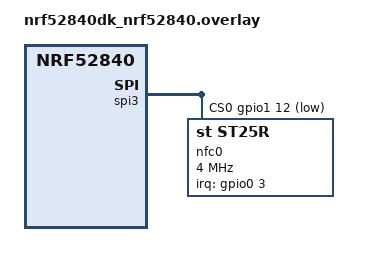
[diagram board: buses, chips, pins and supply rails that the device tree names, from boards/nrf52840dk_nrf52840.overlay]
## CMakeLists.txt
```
cmake_minimum_required(VERSION 3.13.1)

find_package(Zephyr REQUIRED HINTS $ENV{ZEPHYR_BASE})
project(nfc08a1)

set(CMAKE_EXPORT_COMPILE_COMMANDS ON)

target_sources(app PRIVATE
    src/analogConfigTbl_NFC08A1.c
    src/demo_ce.c
    src/demo_polling.c
    src/main.c
    )

set(extra_includes
            "src"
            )

target_include_directories(app PUBLIC ${extra_includes})
```

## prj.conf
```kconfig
CONFIG_LOG=y

CONFIG_SPI=n
CONFIG_I2C=y
CONFIG_GPIO=y

CONFIG_ST25R=y
CONFIG_ST25R3916B=y
CONFIG_ST25R_TRIGGER_GLOBAL_THREAD=y

CONFIG_RFAL_USE_I2C=y
CONFIG_RFAL_FEATURE_NFCA=y
CONFIG_RFAL_FEATURE_ISO_DEP=y
CONFIG_RFAL_FEATURE_ISO_DEP_POLL=y
```

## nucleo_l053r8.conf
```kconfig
CONFIG_LOG_BUFFER_SIZE=128
CONFIG_SIZE_OPTIMIZATIONS=y
```

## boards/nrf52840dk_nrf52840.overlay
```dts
/* SPI configuration */

&spi3 {
    status = "okay";

    cs-gpios = <&gpio1 12 GPIO_ACTIVE_LOW>;

    nfc0: st25r@0 {
        compatible = "st,st25r";
        reg = <0x0>;
        spi-max-frequency = <4000000>;
        irq-gpios = <&gpio0 3 GPIO_ACTIVE_HIGH>;
    };
};

/* I2C configuration */

/*
&spi1 {
    status = "disabled";
};

&i2c0 {
    status = "okay";

    nfc1: st25r@50 {
        compatible = "st,st25r";
        reg = <0x50>;
        irq-gpios = <&gpio0 3 GPIO_ACTIVE_HIGH>;
    };
};
*/
```

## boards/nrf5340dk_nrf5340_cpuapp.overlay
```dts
/* SPI configuration */

&spi4 {
    status = "okay";

    cs-gpios = <&gpio1 12 GPIO_ACTIVE_LOW>;

    nfc0: st25r@0 {
        compatible = "st,st25r";
        reg = <0x0>;
        spi-max-frequency = <4000000>;
        irq-gpios = <&gpio0 4 GPIO_ACTIVE_HIGH>;
    };
};

/* I2C configuration */

/*
&i2c1 {
    status = "okay";

    zephyr,concat-buf-size = <40>;

    nfc1: st25r@50 {
        compatible = "st,st25r";
        reg = <0x50>;
        irq-gpios = <&gpio0 4 GPIO_ACTIVE_HIGH>;
    };
};
*/
```

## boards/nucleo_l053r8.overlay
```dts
/* SPI configuration */

/ {
    soc {
        pin-controller@50000000 {
            spi1_mosi_pa7: spi1_mosi_pa7 {
                slew-rate = "very-high-speed";
            };
        };
    };
};

&spi1 {
    status = "okay";

    cs-gpios = <&gpiob 6 GPIO_ACTIVE_LOW>;

    nfc0: st25r@0 {
        compatible = "st,st25r";
        reg = <0x0>;
        spi-max-frequency = <4000000>;
        irq-gpios = <&gpioa 0 GPIO_ACTIVE_HIGH>;
    };
};

/* I2C configuration */

/*
&i2c1 {
    status = "okay";
    
    nfc1: st25r@50 {
        compatible = "st,st25r";
        reg = <0x50>;
        irq-gpios = <&gpioa 0 GPIO_ACTIVE_HIGH>;
    };
};
*/
```

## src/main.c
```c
#include <stdbool.h>

#include <zephyr/kernel.h>
#include <zephyr/logging/log.h>

#include "demo.h"

LOG_MODULE_DECLARE(ST25R);

int main()
{

    bool rv = demoIni();
    if (!rv) {
        LOG_ERR("failed to initialize");
    } else {
        while (1) {
            demoCycle();
        }
    }

    return 0;
}
```

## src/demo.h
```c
/**
  *****************************************************************************
  * @file    demo.h
  * @brief   Header for polling tag detect
  ******************************************************************************
  * @attention
  *
  * Copyright (c) 2021 STMicroelectronics.
  * All rights reserved.
  *
  * This software is licensed under terms that can be found in the LICENSE file
  * in the root directory of this software component.
  * If no LICENSE file comes with this software, it is provided AS-IS.
  *
  ******************************************************************************
  */

/* Define to prevent recursive inclusion -------------------------------------*/
#ifndef DEMO_H
#define DEMO_H

#ifdef __cplusplus
extern "C" {
#endif

/* Includes ------------------------------------------------------------------*/
#include "platform.h"
#include "st_errno.h"

/** @addtogroup X-CUBE-NFC6_Applications
 *  @{
 */

/** @addtogroup PollingTagDetect
 *  @{
 */

/** @defgroup PTD_Demo
 *  @brief Demo functions containing the example code
 * @{
 */

/* Exported types ------------------------------------------------------------*/
/* Exported constants --------------------------------------------------------*/
/* Exported macro ------------------------------------------------------------*/

/* Exported functions ------------------------------------------------------- */
/** @defgroup PTD_Demo_Exported_Functions
 *  @{
 */
bool demoIni( void );
void demoCycle(void);

/**
  * @}
  */

/**
  * @}
  */ 

/**
  * @}
  */

/**
  * @}
  */

#ifdef __cplusplus
}
#endif

#endif /* DEMO_H */
```

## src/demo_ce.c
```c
/**
  ******************************************************************************
  * @file    demo_ce.c
  * @author  MMY Application Team
  * @brief   Body function to manage card emul mode
  ******************************************************************************
  * @attention
  *
  * Copyright (c) 2021 STMicroelectronics.
  * All rights reserved.
  *
  * This software is licensed under terms that can be found in the LICENSE file
  * in the root directory of this software component.
  * If no LICENSE file comes with this software, it is provided AS-IS.
  *
  ******************************************************************************
  */

/* Includes ------------------------------------------------------------------*/
#include "demo_ce.h"
#include "utils.h"
#include "st_errno.h"
#include "rfal_rf.h"
#include "rfal_nfca.h"
#include "rfal_nfcf.h"

/** @addtogroup X-CUBE-NFC6_Applications
 *  @{
 */

/** @addtogroup CardEmulation
 *  @{
 */

/** @addtogroup CE_CardEmul
 * @{
 */

/* Private typedef -----------------------------------------------------------*/
/** @defgroup CE_CardEmul_Private_Typedef
 * @{
 */
enum States
        {
    STATE_IDLE                      = 0,    /*!< Emulated Tag state idle                  */
    STATE_APP_SELECTED              = 1,    /*!< Emulated Tag state application selected  */
    STATE_CC_SELECTED               = 2,    /*!< Emulated Tag state CCFile selected       */
    STATE_FID_SELECTED              = 3,    /*!< Emulated Tag state FileID selected       */
        };
/**
  * @}
  */

/* Private define ------------------------------------------------------------*/
/** @defgroup CE_CardEmul_Private_Define
 * @{
 */

#define NDEF_SIZE           256       /*!< Max NDEF size emulated. Range: 0005h - 7FFFh    */
#define T4T_CLA_00          0x00      /*!< CLA value for type 4 command                    */
#define T4T_INS_SELECT      0xA4      /*!< INS value for select command                    */
#define T4T_INS_READ        0xB0      /*!< INS value for reabbinary command                */
#define T4T_INS_UPDATE      0xD6      /*!< INS value for update command                    */
#define FID_CC              0xE103    /*!< File ID number for CCFile                       */
#define FID_NDEF            0x0001    /*!< File ID number for NDEF file                    */
#define T3T_BLOCK_SIZE      0x10      /*!< Block size in Type 3 Tag                        */
/**
  * @}
  */

/* Private macro -------------------------------------------------------------*/
/* Private variables ---------------------------------------------------------*/
/** @defgroup CE_CardEmul_Private_Variables
 * @{
 */
static uint8_t        gNfcfNfcid[RFAL_NFCF_NFCID2_LEN];
static uint8_t        ndefFile[NDEF_SIZE];  /*!< Buffer to store NDEF File                 */
static int8_t         nState = STATE_IDLE;  /*!< Type 4 tag emulation status               */
static int32_t        nSelectedIdx = -1;    /*!< current file selected                     */
static int32_t        nFiles = 2;           /*!< Number of file emulated                   */


/**
  * CCLEN : Indicates the size of this CC File <BR>
  * T4T_VNo : Indicates the Mapping Version <BR>
  * MLe high : Max R-APDU size <BR>
  * MLc high : Max C-APDU size <BR>
  * NDEF FCI T: Indicates the NDEF-File_Ctrl_TLV <BR>
  * NDEF FCI L: The length of the V-field <BR>
  * NDEF FCI V1: NDEF File Identifier <BR>
  * NDEF FCI V2: NDEF File size <BR>
  * NDEF FCI V3: NDEF Read AC <BR>
  * NDEF FCI V4: NDEF Write AC <BR>
  */
static uint8_t ccfile[] = {
        0x00, 0x0F,                                       /* CCLEN      */
        0x20,                                             /* T4T_VNo    */
        0x00, 0x7F,                                       /* MLe        */
        0x00, 0x7F,                                       /* MLc        */
        0x04,                                             /* T          */
        0x06,                                             /* L          */
        (FID_NDEF & 0xFF00) >> 8, (FID_NDEF & 0x00FF),    /* V1         */
        (NDEF_SIZE & 0xFF00) >> 8, (NDEF_SIZE & 0x00FF),  /* V2         */
        0x00,                                             /* V3         */
        0x00                                              /* V4         */
};

static uint32_t pdwFileSize[] = {sizeof(ccfile), NDEF_SIZE};  /*!< Current emulated files size     */

/**
  * NDEF length <BR>
  * NDEF Header: MB,ME,SR,Well known Type <BR>
  * NDEF type length <BR>
  * NDEF payload length <BR>
  * NDEF Type : URI <BR>
  * NDEF URI abreviation field : http://www. <BR>
  * NDEF URI string : st.com/st25-demo <BR>
  */
static const uint8_t ndef_uri[] = { 0x00, 0x15,                      /* NDEF length                */
                                    0xD1,                            /* NDEF Header                */
                                    0x01,                            /* NDEF type length           */
                                    0x11,                            /* NDEF payload length        */
                                    0x55,                            /* NDEF Type                  */
                                    0x01,                            /* NDEF URI abreviation field */
                                    0x73, 0x74, 0x2E, 0x63, 0x6F,    /* NDEF URI string            */
                                    0x6D, 0x2F, 0x73, 0x74, 0x32,
                                    0x35, 0x2D, 0x64, 0x65, 0x6D, 0x6F };

__WEAK const uint8_t *demoNdefFile = ndef_uri;
__WEAK uint32_t demoNdefFileLen = sizeof(ndef_uri);


/**
  * Ver : Indicates the NDEF mapping version <BR>
  * Nbr : Indicates the number of blocks that can be read <BR>
  * Nbw : Indicates the number of blocks that can be written <BR>
  * NmaxB : Indicates the maximum number of blocks available for NDEF data <BR>
  * WriteFlag : Indicates whether a previous NDEF write procedure has finished or not <BR>
  * RWFlag : Indicates data can be updated or not <BR>
  * Ln : Is the size of the actual stored NDEF data in bytes <BR>
  * Checksum : allows the Reader/Writer to check whether the Attribute Data are correct <BR>
  */
static uint8_t InformationBlock[] = { 0x10,                                             /* Ver        */
                                      0x08,                                             /* Nbr        */
                                      0x08,                                             /* Nbw        */
                                      0x00, 0x0F,                                       /* NmaxB      */
                                      0x00, 0x00, 0x00, 0x00,                           /* RFU        */
                                      0x00,                                             /* WriteFlag  */
                                      0x01,                                             /* RWFlag     */
                                      0x00, 0x00, 0x15,                                 /* Ln         */
                                      0x00, 0x45                                        /* Checksum   */
};
/**
  * @}
  */

/* Private function prototypes -----------------------------------------------*/

/* Private functions ---------------------------------------------------------*/
/** @defgroup CE_CardEmul_Private_Functions
 * @{
 */

/**
  *****************************************************************************
  * @brief  Compare 2 commands supplied in parameters
  *
  * @param[in]  cmd : pointer to the received command.
  * @param[in]  find : pointer to the avalaible command.
  * @param[in]  len : length of the available command.
  *
  * @retval True : Same command.
  * @retval False : Different command.
  *****************************************************************************
  */
static bool cmdCompare(uint8_t *cmd, uint8_t *find, uint16_t len)
{
    for(int i = 0; i < 20; i++)
    {
        if(!memcmp(&cmd[i],find, len))
        {
            return true;
        }
    }
    return false;
}

/**
  *****************************************************************************
  * @brief  Manage the T4T Select answer to the reader
  *
  * @param[in]  cmdData    : pointer to the received command.
  * @param[out] rspData    : pointer to the answer to send.
  *
  * @return Answer size.
  *****************************************************************************
  */
static uint16_t demoCeT4TSelect(uint8_t *cmdData, uint8_t *rspData )
{
    bool success = false;
    /*
     * Cmd: CLA(1) | INS(1) | P1(1) | P2(1) | Lc(1) | Data(n) | [Le(1)]
     * Rsp: [FCI(n)] | SW12
     *
     * Select App by Name NDEF:       00 A4 04 00 07 D2 76 00 00 85 01 01 00
     * Select App by Name NDEF 4 ST:  00 A4 04 00 07 A0 00 00 00 03 00 00 00
     * Select CC FID:                 00 A4 00 0C 02 xx xx
     * Select NDEF FID:               00 A4 00 0C 02 xx xx
     */

    uint8_t aid[] = {0xD2, 0x76, 0x00, 0x00, 0x85, 0x01, 0x01};
    uint8_t fidCC[] = {FID_CC >> 8 , FID_CC & 0xFF};
    uint8_t fidNDEF[] = {FID_NDEF >> 8, FID_NDEF & 0xFF};
    uint8_t selectFileId[] = {0xA4, 0x00, 0x0C, 0x02, 0x00, 0x01 };


    if(cmdCompare( cmdData, aid, sizeof(aid)))
    { /* Select Appli */
        nState = STATE_APP_SELECTED;
        success = true;
    }
    else if((nState >= STATE_APP_SELECTED) && cmdCompare(cmdData, fidCC, sizeof(fidCC)))
    { /* Select CC */
        nState = STATE_CC_SELECTED;
        nSelectedIdx = 0;
        success = true;
    }
    else if((nState >= STATE_APP_SELECTED) && (cmdCompare(cmdData,fidNDEF,sizeof(fidNDEF)) || cmdCompare(cmdData,selectFileId,sizeof(selectFileId))))
    { /* Select NDEF */
        nState = STATE_FID_SELECTED;
        nSelectedIdx = 1;
        success = true;
    }
    else
    {
        nState = STATE_IDLE;
    }

    rspData[0] = (success ? (char)0x90 : 0x6A);
    rspData[1] = (success ? (char)0x00 : 0x82);

    return 2;
}

/**
  *****************************************************************************
  * @brief  Manage the T4T Read answer to the reader
  *
  * @param[in]  cmdData    : pointer to the received command.
  * @param[out] rspData    : pointer to the answer to send.
  * @param[in]  rspDataLen : size of the answer buffer.
  *
  * @return Answer size.
  *****************************************************************************
  */
static uint16_t demoCeT4TRead(uint8_t *cmdData, uint8_t *rspData, uint16_t rspDataLen)
{
    /*
     * Cmd: CLA(1) | INS(1) | P1(1).. offset inside file high | P2(1).. offset inside file high | Le(1).. nBytes to read
     * Rsp: BytesRead | SW12
     */
    unsigned short offset = (cmdData[2] << 8) | cmdData[3];
    unsigned short toRead = cmdData[4];
    uint8_t * ppbMemory;

    if( rspDataLen < 2 )
    {
        platformErrorHandle();  /* Must ensure appropriate buffer */
    }

    /* Any file selected */
    if(nSelectedIdx < 0 || nSelectedIdx >= nFiles)
    {
        rspData[0] = ((char)0x6A);
        rspData[1] = ((char)0x82);
        return 2;
    }

    /* offset + length exceed file size */
    if((unsigned long)(offset + toRead) > pdwFileSize[nSelectedIdx])
    {
        toRead = pdwFileSize[nSelectedIdx] - offset;
    }

    if( rspDataLen < (toRead+2) )
    {
        rspData[0] = ((char)0x6F);
        rspData[1] = ((char)0x00);
        return 2;
    }

    ppbMemory = (nSelectedIdx == 0 ? ccfile : ndefFile);
    /* read data */
    memcpy(rspData, &ppbMemory[offset], toRead);

    rspData[toRead] = ((char)0x90);
    rspData[toRead+1] = ((char)0x00);
    return toRead + 2;
}

/**
  *****************************************************************************
  * @brief  Manage the T4T Update answer to the reader
  *
  * @param[in]  cmdData : pointer to the received command.
  * @param[in]  rspData : pointer to the answer to send.
  *
  * @return Answer size.
  *****************************************************************************
  */
static uint16_t demoCeT4TUpdate(uint8_t *cmdData, uint8_t *rspData)
{
    uint32_t offset = (cmdData[2] << 8) | cmdData[3];
    uint32_t length = cmdData[4];


    if(nSelectedIdx != 1)
    {
        rspData[0] = ((char)0x6A);
        rspData[1] = ((char)0x82);
        return 2;
    }

    if((unsigned long)(offset + length) > pdwFileSize[nSelectedIdx])
    {
        rspData[0] = ((char)0x62);
        rspData[1] = ((char)0x82);
        return 2;
    }

    memcpy((ndefFile + offset), &cmdData[5], length);

    rspData[0] = ((char)0x90);
    rspData[1] = ((char)0x00);
    return 2;
}

/**
  *****************************************************************************
  * @brief  Manage the T4T Read answer to the reader
  *
  * @param[in]  cmdData    : pointer to the received command.
  * @param[out] rspData    : pointer to the answer to send.
  * @param[in]  rspDataLen : size of the answer buffer.
  *
  * @return Answer size.
  *****************************************************************************
  */
static uint16_t demoCeT3TCheck(uint8_t *cmdData, uint8_t *rspData, uint16_t rspDataLen)
{
    /*
     * Cmd: cmd | NFCID2 | NoS | Service code list | NoB | Block list
     * Rsp: rsp | NFCID2 | Status Flag 1 | Status Flag 2 | NoB | Block Data
     */
    uint8_t *block;
    uint16_t blocknb[256];
    uint32_t idx = 0;
    uint32_t cnt = 0;
    uint32_t nbmax = 0;


    /* Command response */
    rspData[idx++] = RFAL_NFCF_CMD_READ_WITHOUT_ENCRYPTION + 1;

    /* NFCID 2 bytes */
    if( ST_BYTECMP( gNfcfNfcid, &cmdData[ RFAL_NFCF_LENGTH_LEN + RFAL_NFCF_CMD_LEN ], RFAL_NFCF_NFCID2_LEN ) == 0 )
    {
        ST_MEMCPY( &rspData[idx], &gNfcfNfcid, RFAL_NFCF_NFCID2_LEN );
        idx += RFAL_NFCF_NFCID2_LEN;
    }
    else
    {
        /* If NFCID2 in command is different, no answer */
        return 0;
    }

    /* Check for command errors */
    if( (cmdData[10] != 1) || ((cmdData[11] != 0x09) && (cmdData[11] != 0x0B))
    || (cmdData[13] == 0) || (cmdData[13] > InformationBlock[1]) )
    {
        rspData[idx++] = 0xFF;
        rspData[idx++] = 0xFF;
        return idx;
    }
    else
    {
        rspData[idx++] = 0x00;
        rspData[idx++] = 0x00;
    }


    /* Verify CHECK response length */
    if( rspDataLen < (11 + (cmdData[13] * T3T_BLOCK_SIZE)) )
    {
        platformErrorHandle();  /* Must ensure appropriate buffer */
    }

    /* Nob */
    rspData[idx++] = cmdData[13];

    /* Retrieving block to read */
    block = &cmdData[14];
    for( cnt = 0; cnt < cmdData[13]; cnt++ )
    {
        /* TS T3T 5.6.1.5 Service Code List Order value SHALL be between 0 and NoS-1 */
        if( ((*block) & 0x0F) >=  cmdData[10] )
        {
            rspData[idx - 3] = 0xFF;
            rspData[idx - 2] = 0x80; /* TS T3T table 13 - proprietary value to indicate specific error conditions.*/
            return (idx - 1);
        }
        /* Check block list element size */
        if( *block & 0x80 )
        {
            /* 2-byte Block List element */
            blocknb[cnt] = *(block + 1);
            block += 2;
        }
        else
        {
            /* 3-byte Block List element */
            blocknb[cnt] = *(block + 2); /* Little Endian Format */
            blocknb[cnt] <<= 8;
            blocknb[cnt] |= *(block + 1);
            block += 3;
        }

        /* Return error if Blocknb > NmaxB */
        nbmax = InformationBlock[3];
        nbmax = (nbmax << 8) | InformationBlock[4];
        if( blocknb[cnt] > nbmax )
        {
            rspData[idx - 3] = 0xFF;
            rspData[idx - 2] = 0x70;
            return (idx - 1);
        }
    }

    for( cnt = 0; cnt < cmdData[13]; cnt++ )
    {
        if( blocknb[cnt] == 0x0000 )
        {
            /* Read information block */
            ST_MEMCPY( &rspData[idx], InformationBlock, sizeof(InformationBlock));
            idx += sizeof(InformationBlock);
        }
        else
        {
            /* Read ndef block */
            ST_MEMCPY( &rspData[idx], &ndefFile[2 + ((blocknb[cnt] - 1) * T3T_BLOCK_SIZE) ], T3T_BLOCK_SIZE);
            idx += T3T_BLOCK_SIZE;
        }
    }

    return idx;
}

/**
  *****************************************************************************
  * @brief  Manage the T3T Update answer to the reader
  *
  * @param[in]  cmdData : pointer to the received command.
  * @param[in]  rspData : pointer to the answer to send.
  *
  * @return Answer size.
  *****************************************************************************
  */
static uint16_t demoCeT3TUpdate(uint8_t *cmdData, uint8_t *rspData)
{
    /*
     * Cmd: cmd | NFCID2 | NoS | Service code list | NoB | Block list | Block Data
     * Rsp: rsp | NFCID2 | Status Flag 1 | Status Flag 2
     */
    uint8_t *block;
    uint16_t blocknb[256];
    uint32_t idx = 0;
    uint32_t cnt = 0;
    uint32_t nbmax = 0;

    /* Command response */
    rspData[idx++] = RFAL_NFCF_CMD_WRITE_WITHOUT_ENCRYPTION + 1;

    /* NFCID 2 bytes */
    if( ST_BYTECMP( gNfcfNfcid, &cmdData[ RFAL_NFCF_LENGTH_LEN + RFAL_NFCF_CMD_LEN ], RFAL_NFCF_NFCID2_LEN ) == 0 )
    {
        ST_MEMCPY( &rspData[idx], gNfcfNfcid, RFAL_NFCF_NFCID2_LEN );
        idx += RFAL_NFCF_NFCID2_LEN;
    }
    else
    {
        /* If NFCID2 in command is different, no answer */
        return 0;
    }

    /* Check for command errors */
    if( (cmdData[10] != 1) || (cmdData[11] != 0x09)
    || (cmdData[13] == 0) || (cmdData[13] > InformationBlock[2]) )
    {
        rspData[idx++] = 0xFF;
        rspData[idx++] = 0xFF;
        return idx;
    }
    else
    {
        rspData[idx++] = 0x00;
        rspData[idx++] = 0x00;
    }


    /* Retrieving block to read */
    block = &cmdData[14];
    for( cnt = 0; cnt < cmdData[13]; cnt++ )
    {
        /* Check block list element size */
        if( *block & 0x80 )
        {
            /* 2-byte Block List element */
            blocknb[cnt] = *(block + 1);
            block += 2;
        }
        else
        {
            /* 3-byte Block List element */
            blocknb[cnt] = *(block + 2); /* Little Endian Format */
            blocknb[cnt] <<= 8;
            blocknb[cnt] |= *(block + 1);
            block += 3;
        }
        /* Return error if Blocknb > NmaxB */
        nbmax = InformationBlock[3];
        nbmax = (nbmax << 8) | InformationBlock[4];
        if( blocknb[cnt] > nbmax )
        {
            rspData[idx - 2] = 0xFF;
            rspData[idx - 1] = 0x70;
            return idx;
        }
    }

    for( cnt = 0; cnt < cmdData[13]; cnt++ )
    {
        if( blocknb[cnt] == 0x0000 )
        {
            /* Write information block */
            ST_MEMCPY( InformationBlock, block, T3T_BLOCK_SIZE);
            block += T3T_BLOCK_SIZE;
        }
        else
        {
            /* Read ndef block */
            ST_MEMCPY( &ndefFile[2 + ((blocknb[cnt] - 1) * T3T_BLOCK_SIZE) ], block, T3T_BLOCK_SIZE);
            block += T3T_BLOCK_SIZE;
        }
    }

    /* Status flag answer */
    rspData[idx++] = 0x00;
    rspData[idx++] = 0x00;

    return idx;
}


/**
  *****************************************************************************
  * @brief  Demo CE Initialize
  *
  * Initializes the demo CE
  *
  * @param[in]  nfcfNfcid : The NFCID to be used in T3T CE.
  *
  * @return None
  *****************************************************************************
  */
void demoCeInit( uint8_t* nfcfNfcid )
{
    if( nfcfNfcid != NULL )
    {
        ST_MEMCPY( gNfcfNfcid, nfcfNfcid, RFAL_NFCF_NFCID2_LEN );
    }

    ST_MEMCPY( ndefFile, (uint8_t *)demoNdefFile, demoNdefFileLen );
    /* Update AIB Ln with actual NDEF length */
    InformationBlock[12] = demoNdefFile[0];
    InformationBlock[13] = demoNdefFile[1];
    uint16_t checksum = 0;
    for (int i = 0; i < 14; i++)
    {
        checksum += InformationBlock[i];
    }
    InformationBlock[14] = checksum >> 8;
    InformationBlock[15] = checksum & 0xFF;
}

/**
  *****************************************************************************
  * @brief  Demo CE T4T
  *
  * Parses the received command and computes the response to be sent back to
  * the Reader
  *
  * @param[in]  rxData : pointer to the received command.
  * @param[in]  rxDataLen : length of the received command.
  * @param[in]  txBuf : pointer to where the response will be placed.
  * @param[in]  txBufLen : size of txBuf.
  *
  * @return Response size.
  *****************************************************************************
  */
uint16_t demoCeT4T(uint8_t *rxData, uint16_t rxDataLen, uint8_t *txBuf, uint16_t txBufLen )
{
    if( (txBuf == NULL) || (txBufLen < 2) )
    {
        platformErrorHandle();  /* Must ensure appropriate buffer */
    }


    if( (rxData != NULL) && (rxDataLen >= 4) )
    {
        if(rxData[0] == T4T_CLA_00)
        {
            switch(rxData[1])
            {
                case T4T_INS_SELECT:
                    return demoCeT4TSelect(rxData, txBuf);

                    case T4T_INS_READ:
                        return demoCeT4TRead(rxData, txBuf, txBufLen);

                        case T4T_INS_UPDATE:
                            return demoCeT4TUpdate(rxData, txBuf);

                            default:
                                break;
            }
        }
    }

    /* Function not supported ...  */
    txBuf[0] = ((char)0x68);
    txBuf[1] = ((char)0x00);
    return 2;
}

/**
  *****************************************************************************
  * @brief  Demo CE T3T
  *
  * Parses the received command and computes the response to be sent back to
  * the Reader
  *
  * @param[in]  rxData : pointer to the received command.
  * @param[in]  rxDataLen : length of the received command.
  * @param[in]  txBuf : pointer to where the response will be placed.
  * @param[in]  txBufLen : size of txBuf.
  *
  * @return Response size.
  *****************************************************************************
  */
uint16_t demoCeT3T(uint8_t *rxData, uint16_t rxDataLen, uint8_t *txBuf, uint16_t txBufLen )
{
    if( (txBuf == NULL) || (txBufLen < 11) )
    {
        platformErrorHandle();  /* Must ensure appropriate buffer */
    }

    if( (rxData != NULL) && (rxDataLen >= 4) )
    {
        switch(rxData[1])
        {
            case RFAL_NFCF_CMD_READ_WITHOUT_ENCRYPTION:
                return demoCeT3TCheck(rxData, txBuf, txBufLen);

                case RFAL_NFCF_CMD_WRITE_WITHOUT_ENCRYPTION:
                    return demoCeT3TUpdate(rxData, txBuf);

                    default:
                        break;
        }
    }

    /* Function not supported ...  */
    txBuf[0] = ((char)0xFF);
    txBuf[1] = ((char)0xFF);
    return 2;
}



/**
  * @}
  */

/**
  * @}
  */

/**
  * @}
  */

/**
  * @}
  */
```

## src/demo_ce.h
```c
/**
  ******************************************************************************
  * @file    demo_ce.h
  * @brief   Header for card emulation file
  ******************************************************************************
  * @attention
  *
  * Copyright (c) 2021 STMicroelectronics.
  * All rights reserved.
  *
  * This software is licensed under terms that can be found in the LICENSE file
  * in the root directory of this software component.
  * If no LICENSE file comes with this software, it is provided AS-IS.
  *
  ******************************************************************************
  */

/* Define to prevent recursive inclusion -------------------------------------*/
#ifndef DEMO_CE_H
#define DEMO_CE_H

#ifdef __cplusplus
extern "C" {
#endif

    /* Includes ------------------------------------------------------------------*/
#include "platform.h"

    /** @addtogroup X-CUBE-NFC6_Applications
     *  @brief Sample applications for X-NUCLEO-NFC06A1 STM32 expansion boards.
     *  @{
     */

    /** @addtogroup CardEmulation
     *  @{
     */

    /** @defgroup CE_CardEmul
     *  @brief Card Emulation management functions
     * @{
     */


    /* Exported constants --------------------------------------------------------*/
    /* T3T Information Block Bytes offset */
#define T3T_INFBLK_VER_OFFSET       0
#define T3T_INFBLK_NBR_OFFSET       1
#define T3T_INFBLK_NBW_OFFSET       2
#define T3T_INFBLK_NMAXB_OFFSET     3
#define T3T_INFBLK_WRITEFLAG_OFFSET 9
#define T3T_INFBLK_RWFLAG_OFFSET    10
#define T3T_INFBLK_LN_OFFSET        11
#define T3T_INFBCK_CHECKSUM_OFFSET  14

    /* T3T Information Block WriteFlag values */
#define T3T_WRITEFLAG_OFF 0x00
#define T3T_WRITEFLAG_ON  0x0F

    /* T3T COMMAND OFFSET */
#define T3T_CHECK_RESP_CMD_OFFSET    0
#define T3T_CHECK_RESP_NFCID2_OFFSET 1
#define T3T_CHECK_RESP_SF1_OFFSET    9
#define T3T_CHECK_RESP_SF2_OFFSET    10
#define T3T_CHECK_RESP_NOB_OFFSET    11
#define T3T_CHECK_RESP_DATA_OFFSET   12
#define T3T_UPDATE_RESP_CMD_OFFSET    0
#define T3T_UPDATE_RESP_NFCID2_OFFSET 1
#define T3T_UPDATE_RESP_SF1_OFFSET    9
#define T3T_UPDATE_RESP_SF2_OFFSET    10

    /* External variables --------------------------------------------------------*/
    /* Exported macro ------------------------------------------------------------*/
    /* Exported functions ------------------------------------------------------- */
    /** @defgroup CE_CardEmul_Exported_functions
     *  @{
     */
    void     demoCeInit(uint8_t* nfcfNfcid);
    uint16_t demoCeT3T(uint8_t *rxData, uint16_t rxDataLen, uint8_t *txBuf, uint16_t txBufLen );
    uint16_t demoCeT4T(uint8_t *rxData, uint16_t rxDataLen, uint8_t *txBuf, uint16_t txBufLen );



    /**
      * @}
      */

    /**
      * @}
      */

    /**
      * @}
      */

    /**
      * @}
      */

#ifdef __cplusplus
}
#endif

#endif /* DEMO_CE_H */
```

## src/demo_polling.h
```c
#ifndef NFC08A1_DEMO_POLLING_H
#define NFC08A1_DEMO_POLLING_H

#include <stdbool.h>

bool demoIni( void );
void demoCycle(void);

#endif //NFC08A1_DEMO_POLLING_H
```

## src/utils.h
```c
/**
  ******************************************************************************
  * @file    utils.h
  * @author  MMY Application Team
  * @brief   Common and helpful macros
  ******************************************************************************
  * @attention
  *
  * Copyright (c) 2021 STMicroelectronics.
  * All rights reserved.
  *
  * This software is licensed under terms that can be found in the LICENSE file
  * in the root directory of this software component.
  * If no LICENSE file comes with this software, it is provided AS-IS.
  *
  ******************************************************************************
  */

#ifndef UTILS_H
#define UTILS_H

/*
******************************************************************************
* INCLUDES
******************************************************************************
*/
#include <string.h>

/*
******************************************************************************
* GLOBAL MACROS
******************************************************************************
*/
/*!
 * this macro evaluates an error variable \a ERR against an error code \a EC.
 * in case it is not equal it jumps to the given label \a LABEL.
 */
#define EVAL_ERR_NE_GOTO(EC, ERR, LABEL)                                   \
if ((EC) != (ERR)) goto LABEL;

/*!
 * this macro evaluates an error variable \a ERR against an error code \a EC.
 * in case it is equal it jumps to the given label \a LABEL.
 */
#define EVAL_ERR_EQ_GOTO(EC, ERR, LABEL)                                   \
if ((EC) == (ERR)) goto LABEL;

#define SIZEOF_ARRAY(a)     (sizeof(a) / sizeof((a)[0]))  /*!< Compute the size of an array           */
#define MAX(a, b)           (((a) > (b)) ? (a) : (b))     /*!< Return the maximum of the 2 values     */
#define MIN(a, b)           (((a) < (b)) ? (a) : (b))     /*!< Return the minimum of the 2 values     */
#define BITMASK_1           (0x01)                        /*!< Bit mask for lsb bit                   */
#define BITMASK_2           (0x03)                        /*!< Bit mask for two lsb bits              */
#define BITMASK_3           (0x07)                        /*!< Bit mask for three lsb bits            */
#define BITMASK_4           (0x0F)                        /*!< Bit mask for four lsb bits             */
#define U16TOU8(a)          ((a) & 0x00FF)                /*!< Cast 16-bit unsigned to 8-bit unsigned */
#define GETU16(a)           (((uint16_t)(a)[0] << 8) | (uint16_t)(a)[1])/*!< Cast two Big Endian 8-bits byte array to 16-bits unsigned */
#define GETU32(a)           (((uint32_t)(a)[0] << 24) | ((uint32_t)(a)[1] << 16) | ((uint32_t)(a)[2] << 8) | ((uint32_t)(a)[3])) /*!< Cast four Big Endian 8-bit byte array to 32-bit unsigned */

#define REVERSE_BYTES(pData, nDataSize) \
{unsigned char swap, *lo = ((unsigned char *)(pData)), *hi = ((unsigned char *)(pData)) + (nDataSize) - 1; \
while (lo < hi) { swap = *lo; *lo++ = *hi; *hi-- = swap; }}

#ifdef __CSMC__
/* STM8 COSMIC */
#define ST_MEMMOVE(s1,s2,n)                                                 memmove(s1,s2,n)                                /*!< map memmove to string library code */
static inline void * ST_MEMCPY(void *s1, const void *s2, uint32_t n)      { return memcpy(s1,s2,(uint16_t)n); }             /*  PRQA S 0431 # MISRA 1.1 - string.h from Cosmic only provides functions with low qualified parameters */
#define ST_MEMSET(s1,c,n)                                                   memset(s1,(char)(c),n)                          /*!< map memset to string library code  */
static inline int32_t ST_BYTECMP(void *s1, const void *s2, uint32_t n)    { return (int32_t)memcmp(s1,s2,(uint16_t)n); }    /*  PRQA S 0431 # MISRA 1.1 - string.h from Cosmic only provides functions with low qualified parameters */

#else   /* __CSMC__ */

#define ST_MEMMOVE          memmove     /*!< map memmove to string library code */
#define ST_MEMCPY           memcpy      /*!< map memcpy to string library code  */
#define ST_MEMSET           memset      /*!< map memset to string library code  */
#define ST_BYTECMP          memcmp      /*!< map bytecmp to string library code */
#endif /* __CSMC__ */

#define NO_WARNING(v)      ((void) (v)) /*!< Macro to suppress compiler warning */


#ifndef NULL
  #define NULL (void*)0                 /*!< represents a NULL pointer */
#endif /* !NULL */

/*
******************************************************************************
* GLOBAL FUNCTION PROTOTYPES
******************************************************************************
*/

#endif /* UTILS_H */
```
